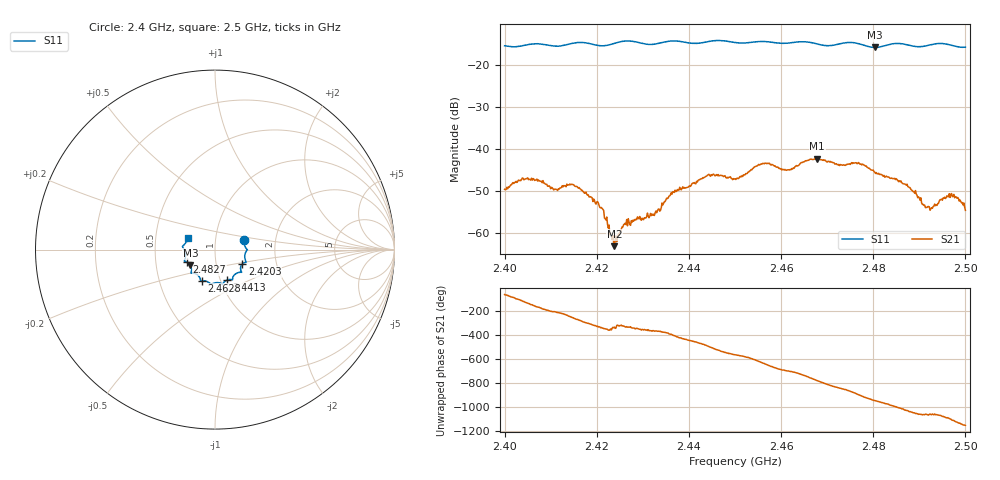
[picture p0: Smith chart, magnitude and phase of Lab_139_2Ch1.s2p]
# Hz S RI R 50
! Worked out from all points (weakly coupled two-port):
!   601 points, 2.4 GHz to 2.5 GHz, reference 50 ohm
!   highest |S21| = -42.26 dB at 2.4678 GHz (marker M1); lowest = -63.2 dB at 2.4238 GHz (marker M2)
!   lowest |S11| = -15.7 dB at 2.4803 GHz (marker M3), VSWR 1.39, Z = 37.4 - j6.8 ohm
!   |S11| at or under -10 dB: start of sweep to end of sweep
!   S12 and S22 are empty: the file has one direction only
!   S11 on the Smith chart (normalised r, x): 2.4 GHz: 1.38, +0.15; 2.4203 GHz: 1.34, -0.22; 2.4413 GHz: 1.08, -0.38; 2.4628 GHz: 0.82, -0.29; 2.4827 GHz: 0.72, -0.11; 2.5 GHz: 0.73, +0.10
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2.4e9  0.1626 0.0525  0.00139 -0.003  0 0  0 0
2.4045e9  0.1738 0.00622  -0.00281 -0.00338  0 0  0 0
2.416667e9  0.1738 -0.0698  0.000869 0.00311  0 0  0 0
2.420333e9  0.1525 -0.08  0.00206 0.000946  0 0  0 0
2.423833e9  0.1435 -0.1131  0.000637 0.000273  0 0  0 0
2.426333e9  0.1488 -0.1261  0.00115 0.000512  0 0  0 0
2.433333e9  0.1002 -0.152  0.00188 -0.000374  0 0  0 0
2.4365e9  0.0977 -0.1688  0.00228 -0.0021  0 0  0 0
2.441333e9  0.0676 -0.1693  -0.000637 -0.00381  0 0  0 0
2.444833e9  0.0442 -0.1894  -0.0041 -0.00277  0 0  0 0
2.45e9  0.0245 -0.1853  -0.00396 0.00195  0 0  0 0
2.456167e9  -0.0211 -0.1909  0.000942 0.00667  0 0  0 0
2.462833e9  -0.0716 -0.1736  0.00585 0.000819  0 0  0 0
2.466667e9  -0.0813 -0.1673  0.0054 -0.00525  0 0  0 0
2.467833e9  -0.0837 -0.1587  0.00368 -0.00677  0 0  0 0
2.480333e9  -0.1371 -0.0884  -0.00351 0.00396  0 0  0 0
2.482667e9  -0.1572 -0.0707  -0.00128 0.00448  0 0  0 0
2.483333e9  -0.1625 -0.0683  -0.000867 0.00458  0 0  0 0
2.4875e9  -0.1668 -0.0523  0.00244 0.00261  0 0  0 0
2.491833e9  -0.1724 0.000143  0.00201 0.000443  0 0  0 0
2.497e9  -0.1707 0.0286  0.00258 -0.00142  0 0  0 0
2.5e9  -0.1516 0.0641  0.000454 -0.0018  0 0  0 0
